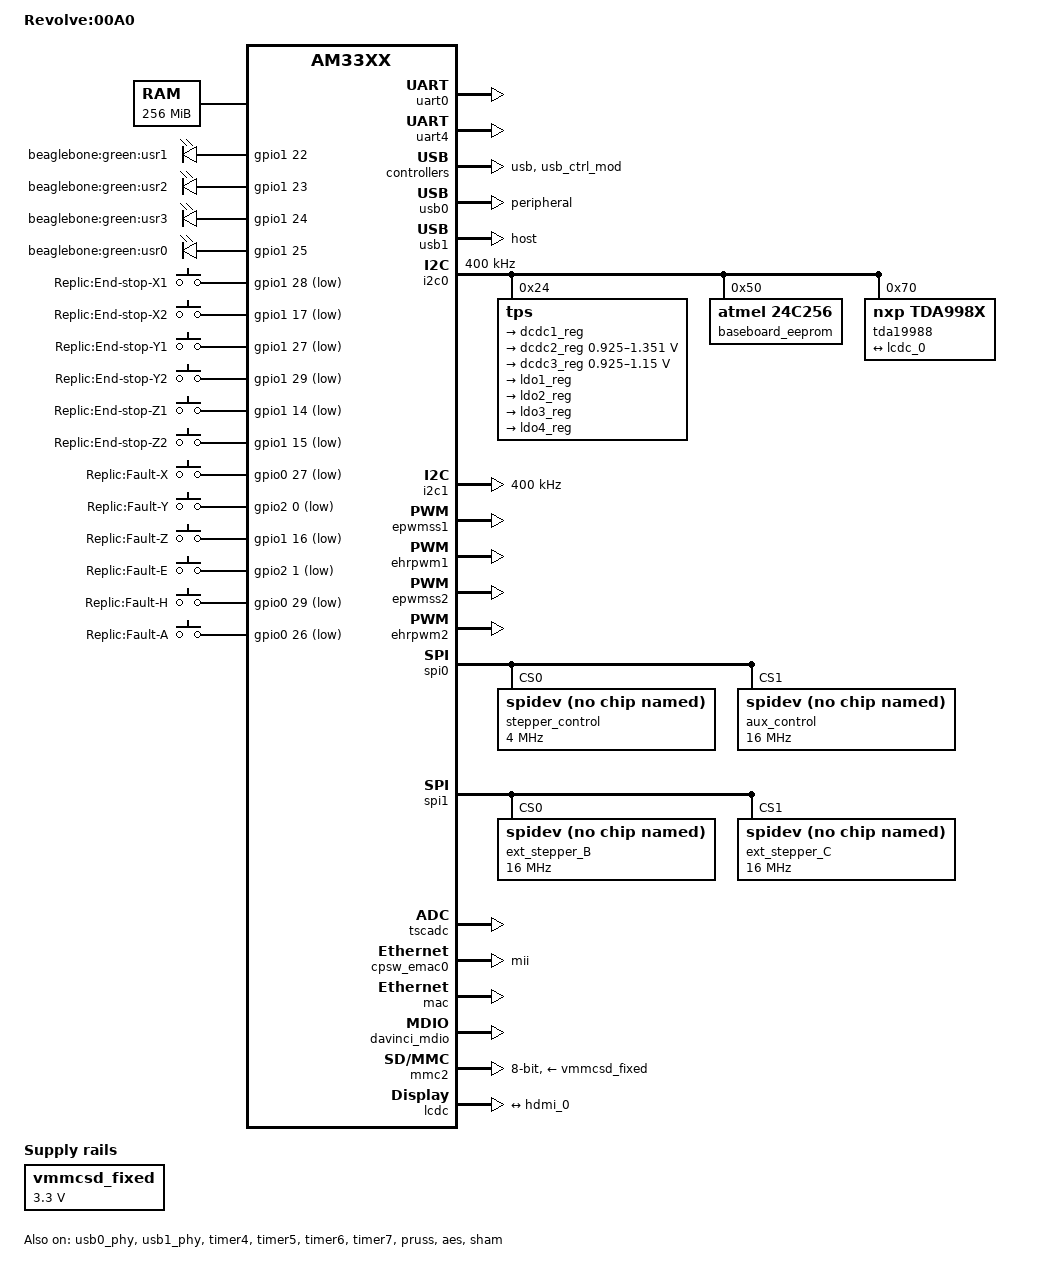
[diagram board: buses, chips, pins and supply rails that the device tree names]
/*
 * Copyright (C) 2012 Texas Instruments Incorporated - http://www.ti.com/
 *
 * This program is free software; you can redistribute it and/or modify
 * it under the terms of the GNU General Public License version 2 as
 * published by the Free Software Foundation.
 */
/dts-v1/;

#include "am33xx.dtsi"
/* #include "am335x-bone-jtag.dtsi" */

/ {

	model = "Revolve:00A0";
	compatible = "ti,am335x-bone-black", "ti,am335x-bone", "ti,am33xx";

	cpus {
		cpu@0 {
			cpu0-supply = <&dcdc2_reg>;
		};
	};

	memory@80000000 {
		device_type = "memory";
		reg = <0x80000000 0x10000000>; /* 512 MB */
	};

	chosen {
		stdout-path = &uart0;
	};

	vmmcsd_fixed: fixedregulator0 {
		compatible = "regulator-fixed";
		regulator-name = "vmmcsd_fixed";
		regulator-min-microvolt = <3300000>;
		regulator-max-microvolt = <3300000>;
	};

    leds {
	    pinctrl-names = "default";
	    pinctrl-0 = <&user_leds_s0>;

	    compatible = "gpio-leds";

	    led1 {
		    label = "beaglebone:green:usr1";
		    gpios = <&gpio1 22 GPIO_ACTIVE_HIGH>;
		    linux,default-trigger = "mmc0";
		    default-state = "off";
	    };

	    led2 {
		    label = "beaglebone:green:usr2";
		    gpios = <&gpio1 23 GPIO_ACTIVE_HIGH>;
		    linux,default-trigger = "cpu0";
		    default-state = "off";
	    };

	    led3 {
		    label = "beaglebone:green:usr3";
		    gpios = <&gpio1 24 GPIO_ACTIVE_HIGH>;
		    linux,default-trigger = "mmc1";
		    default-state = "off";
	    };
	    led4 {
		    label = "beaglebone:green:usr0";
		    gpios = <&gpio1 25 GPIO_ACTIVE_HIGH>;
		    linux,default-trigger = "heartbeat";
		    default-state = "off";
	    };

    };


    gpio_keys {
        compatible = "gpio-keys";
        pinctrl-names = "default";
        pinctrl-0 = <&end_stop_pins>;
        pinctrl-1 = <&stepper_fault_pins>;
        #address-cells = <1>;
        #size-cells = <0>;

        switch_x1 {
            label               = "Replic:End-stop-X1";
            debounce_interval   = <50>;
            linux,code          = <112>;
            gpios               = <&gpio1 28 0x5>;
            gpio-key,wakeup;
        };				
        switch_x2 {
            label               = "Replic:End-stop-X2";
            debounce_interval   = <50>;
            linux,code          = <113>;
            gpios               = <&gpio1 17 0x5>;
            gpio-key,wakeup;
        };
        switch_y1 {
            label               = "Replic:End-stop-Y1";
            debounce_interval   = <50>;
            linux,code          = <114>;
            gpios               = <&gpio1 27 0x5>;
            gpio-key,wakeup;
        };				
        switch_y2 {
            label               = "Replic:End-stop-Y2";
            debounce_interval   = <50>;
            linux,code          = <115>;
            gpios               = <&gpio1 29 0x5>;
            gpio-key,wakeup;
        };				
        switch_z1 {
            label               = "Replic:End-stop-Z1";
            debounce_interval   = <50>;
            linux,code          = <116>;
            gpios               = <&gpio1 14 0x5>;
            gpio-key,wakeup;
        };				
        switch_z2 {
            label               = "Replic:End-stop-Z2";
            debounce_interval   = <50>;
            linux,code          = <117>;
            gpios               = <&gpio1 15 0x5>;
            gpio-key,wakeup;
        };				
        fault_x {
            label               = "Replic:Fault-X";
            debounce_interval   = <50>;
            linux,code          = <90>;
            gpios               = <&gpio0 27 0x5>;
            gpio-key,wakeup;	
        };
        fault_y {
            label               = "Replic:Fault-Y";
            debounce_interval   = <50>;
            linux,code          = <91>;
            gpios               = <&gpio2 0 0x5>;
            gpio-key,wakeup;	
        };
        fault_z {
            label               = "Replic:Fault-Z";
            debounce_interval   = <50>;
            linux,code          = <92>;
            gpios               = <&gpio1 16 0x5>;
            gpio-key,wakeup;	
        };
        fault_e {
            label               = "Replic:Fault-E";
            debounce_interval   = <50>;
            linux,code          = <93>;
            gpios               = <&gpio2 1 0x5>;
            gpio-key,wakeup;	
        };
        fault_h {
            label               = "Replic:Fault-H";
            debounce_interval   = <50>;
            linux,code          = <94>;
            gpios               = <&gpio0 29 0x5>;
            gpio-key,wakeup;	
        };
        fault_a {
            label               = "Replic:Fault-A";
            debounce_interval   = <50>;
            linux,code          = <94>;
            gpios               = <&gpio0 26 0x5>;
            gpio-key,wakeup;	
        };
    };


    pwm4: dmtimer-pwm@4 {
        compatible = "ti,omap-dmtimer-pwm";
        ti,timers = <&timer4>;
        #pwm-cells = <3>;
        pinctrl-names = "default";
	    pinctrl-0 = <&timer4_pins>;	

    };

    pwm5: dmtimer-pwm@5 {
        compatible = "ti,omap-dmtimer-pwm";
        ti,timers = <&timer5>;
        #pwm-cells = <3>;
        pinctrl-names = "default";
	    pinctrl-0 = <&timer5_pins>;	

    };

    pwm6: dmtimer-pwm@6 {
        compatible = "ti,omap-dmtimer-pwm";
        ti,timers = <&timer6>;
        #pwm-cells = <3>;
        pinctrl-names = "default";
	    pinctrl-0 = <&timer6_pins>;	

    };

    pwm7: dmtimer-pwm@7 {
        compatible = "ti,omap-dmtimer-pwm";
        ti,timers = <&timer7>;
        #pwm-cells = <3>;
        pinctrl-names = "default";
	    pinctrl-0 = <&timer7_pins>;	

    };
};


&cpu0_opp_table {
	/*
	 * All PG 2.0 silicon may not support 1GHz but some of the early
	 * BeagleBone Blacks have PG 2.0 silicon which is guaranteed
	 * to support 1GHz OPP so enable it for PG 2.0 on this board.
	 */
	oppnitro-1000000000 {
		opp-supported-hw = <0x06 0x0100>;
	};
};


&am33xx_pinmux {
	nxp_hdmi_bonelt_pins: nxp_hdmi_bonelt_pins {
		pinctrl-single,pins = <
			AM33XX_IOPAD(0x8a0, PIN_OUTPUT | MUX_MODE0)		/* lcd_data0.lcd_data0 */
			AM33XX_IOPAD(0x8a4, PIN_OUTPUT | MUX_MODE0)		/* lcd_data1.lcd_data1 */
			AM33XX_IOPAD(0x8a8, PIN_OUTPUT | MUX_MODE0)		/* lcd_data2.lcd_data2 */
			AM33XX_IOPAD(0x8ac, PIN_OUTPUT | MUX_MODE0)		/* lcd_data3.lcd_data3 */
			AM33XX_IOPAD(0x8b0, PIN_OUTPUT | MUX_MODE0)		/* lcd_data4.lcd_data4 */
			AM33XX_IOPAD(0x8b4, PIN_OUTPUT | MUX_MODE0)		/* lcd_data5.lcd_data5 */
			AM33XX_IOPAD(0x8b8, PIN_OUTPUT | MUX_MODE0)		/* lcd_data6.lcd_data6 */
			AM33XX_IOPAD(0x8bc, PIN_OUTPUT | MUX_MODE0)		/* lcd_data7.lcd_data7 */
			AM33XX_IOPAD(0x8c0, PIN_OUTPUT | MUX_MODE0)		/* lcd_data8.lcd_data8 */
			AM33XX_IOPAD(0x8c4, PIN_OUTPUT | MUX_MODE0)		/* lcd_data9.lcd_data9 */
			AM33XX_IOPAD(0x8c8, PIN_OUTPUT | MUX_MODE0)		/* lcd_data10.lcd_data10 */
			AM33XX_IOPAD(0x8cc, PIN_OUTPUT | MUX_MODE0)		/* lcd_data11.lcd_data11 */
			AM33XX_IOPAD(0x8d0, PIN_OUTPUT | MUX_MODE0)		/* lcd_data12.lcd_data12 */
			AM33XX_IOPAD(0x8d4, PIN_OUTPUT | MUX_MODE0)		/* lcd_data13.lcd_data13 */
			AM33XX_IOPAD(0x8d8, PIN_OUTPUT | MUX_MODE0)		/* lcd_data14.lcd_data14 */
			AM33XX_IOPAD(0x8dc, PIN_OUTPUT | MUX_MODE0)		/* lcd_data15.lcd_data15 */
			AM33XX_IOPAD(0x8e0, PIN_OUTPUT_PULLDOWN | MUX_MODE0)	/* lcd_vsync.lcd_vsync */
			AM33XX_IOPAD(0x8e4, PIN_OUTPUT_PULLDOWN | MUX_MODE0)	/* lcd_hsync.lcd_hsync */
			AM33XX_IOPAD(0x8e8, PIN_OUTPUT_PULLDOWN | MUX_MODE0)	/* lcd_pclk.lcd_pclk */
			AM33XX_IOPAD(0x8ec, PIN_OUTPUT_PULLDOWN | MUX_MODE0)	/* lcd_ac_bias_en.lcd_ac_bias_en */
		>;
	};

    ehrpwm1_pins: ehrpwm1_pins_default {
	    pinctrl-single,pins = <
		    0x20 ( PIN_OUTPUT | MUX_MODE4 ) /* (U10) gpmc_ad8.ehrpwm2A */
		    0x24 ( PIN_OUTPUT | MUX_MODE4 ) /* (T10) gpmc_ad9.ehrpwm2B */
	    >;
    };

    ehrpwm2_pins: ehrpwm2_pins_default {
	    pinctrl-single,pins = <
		    0x48 ( PIN_OUTPUT | MUX_MODE6 ) /* (U14) gpmc_a2.ehrpwm1A */
		    0x4c ( PIN_OUTPUT | MUX_MODE6 ) /* (T14) gpmc_a3.ehrpwm1B */
	    >;
    };

    spi0_pins: spi0_pins {
	    pinctrl-single,pins = <
		    0x150 ( PIN_INPUT | MUX_MODE0 ) /* (A17) spi0_sclk.spi0_sclk */
		    0x154 ( PIN_INPUT | MUX_MODE0 ) /* (B17) spi0_d0.spi0_d0 */
		    0x158 ( PIN_INPUT | MUX_MODE0 ) /* (B16) spi0_d1.spi0_d1 */
		    0x15c ( PIN_OUTPUT | MUX_MODE0 ) /* (A16) spi0_cs0.spi0_cs0 */
		    0x160 ( PIN_OUTPUT | MUX_MODE0 ) /* (C15) spi0_cs1.spi0_cs1 */
	    >;
    };

    spi1_pins: spi1_pins {
	    pinctrl-single,pins = <
		    0x164 ( PIN_INPUT | MUX_MODE4 ) /* (C18) eCAP0_in_PWM0_out.spi1_sclk */
		    0x168 ( PIN_INPUT | MUX_MODE4 ) /* (E18) uart0_ctsn.spi1_d0 */
		    0x16c ( PIN_INPUT | MUX_MODE4 ) /* (E17) uart0_rtsn.spi1_d1 */
		    0x178 ( PIN_INPUT | MUX_MODE4 ) /* (D18) uart1_ctsn.spi1_cs0 */
		    0x17c ( PIN_INPUT | MUX_MODE4 ) /* (D17) uart1_rtsn.spi1_cs1 */
	    >;
    };

    pru_stepper_pins: pru_pruss11_pins {
	    pinctrl-single,pins = <
		    0x190 ( PIN_OUTPUT | MUX_MODE5 ) /* (A13) mcasp0_aclkx.pr1_pru0_pru_r30[0] */
		    0x194 ( PIN_OUTPUT | MUX_MODE5 ) /* (B13) mcasp0_fsx.pr1_pru0_pru_r30[1] */
		    0x198 ( PIN_OUTPUT | MUX_MODE5 ) /* (D12) mcasp0_axr0.pr1_pru0_pru_r30[2] */
		    0x19c ( PIN_OUTPUT | MUX_MODE5 ) /* (C12) mcasp0_ahclkr.pr1_pru0_pru_r30[3] */
		    0x1a0 ( PIN_OUTPUT | MUX_MODE5 ) /* (B12) mcasp0_aclkr.pr1_pru0_pru_r30[4] */
		    0x1a4 ( PIN_OUTPUT | MUX_MODE5 ) /* (C13) mcasp0_fsr.pr1_pru0_pru_r30[5] */
		    0x1a8 ( PIN_OUTPUT | MUX_MODE5 ) /* (D13) mcasp0_axr1.pr1_pru0_pru_r30[6] */
		    0x1ac ( PIN_OUTPUT | MUX_MODE5 ) /* (A14) mcasp0_ahclkx.pr1_pru0_pru_r30[7] */
		    0xf0 ( PIN_OUTPUT | MUX_MODE5 ) /* (F17) mmc0_dat3.pr1_pru0_pru_r30[8] */
		    0xf4 ( PIN_OUTPUT | MUX_MODE5 ) /* (F18) mmc0_dat2.pr1_pru0_pru_r30[9] */
		    0xf8 ( PIN_OUTPUT | MUX_MODE5 ) /* (G15) mmc0_dat1.pr1_pru0_pru_r30[10] */
		    0xfc ( PIN_OUTPUT | MUX_MODE5 ) /* (G16) mmc0_dat0.pr1_pru0_pru_r30[11] */
		    0x100 ( PIN_OUTPUT | MUX_MODE5 ) /* (G17) mmc0_clk.pr1_pru0_pru_r30[12] */
		    0x104 ( PIN_OUTPUT | MUX_MODE5 ) /* (G18) mmc0_cmd.pr1_pru0_pru_r30[13] */
		    0x30 ( PIN_OUTPUT | MUX_MODE6 ) /* (T12) gpmc_ad12.pr1_pru0_pru_r30[14] */
		    0x34 ( PIN_OUTPUT | MUX_MODE6 ) /* (R12) gpmc_ad13.pr1_pru0_pru_r30[15] */
		    /*0x38 ( PIN_INPUT | MUX_MODE6 )*/ /* (V13) gpmc_ad14.pr1_pru0_pru_r31[14] */
		    /*0x3c ( PIN_INPUT | MUX_MODE6 )*/ /* (U13) gpmc_ad15.pr1_pru0_pru_r31[15] */
		    0x1b4 ( PIN_INPUT | MUX_MODE5 ) /* (D14) xdma_event_intr1.pr1_pru0_pru_r31[16] */
	    >;
    };

    pru_stepper_pins_gpio: pru_pruss11_pins {
	    pinctrl-single,pins = <
		    0x190 ( PIN_OUTPUT | MUX_MODE7 ) /* (A13) mcasp0_aclkx.pr1_pru0_pru_r30[0] */
		    0x194 ( PIN_OUTPUT | MUX_MODE7 ) /* (B13) mcasp0_fsx.pr1_pru0_pru_r30[1] */
		    0x198 ( PIN_OUTPUT | MUX_MODE7 ) /* (D12) mcasp0_axr0.pr1_pru0_pru_r30[2] */
		    0x19c ( PIN_OUTPUT | MUX_MODE7 ) /* (C12) mcasp0_ahclkr.pr1_pru0_pru_r30[3] */
		    0x1a0 ( PIN_OUTPUT | MUX_MODE7 ) /* (B12) mcasp0_aclkr.pr1_pru0_pru_r30[4] */
		    0x1a4 ( PIN_OUTPUT | MUX_MODE7 ) /* (C13) mcasp0_fsr.pr1_pru0_pru_r30[5] */
		    0x1a8 ( PIN_OUTPUT | MUX_MODE7 ) /* (D13) mcasp0_axr1.pr1_pru0_pru_r30[6] */
		    0x1ac ( PIN_OUTPUT | MUX_MODE7 ) /* (A14) mcasp0_ahclkx.pr1_pru0_pru_r30[7] */
		    0xf0 ( PIN_OUTPUT | MUX_MODE7 ) /* (F17) mmc0_dat3.pr1_pru0_pru_r30[8] */
		    0xf4 ( PIN_OUTPUT | MUX_MODE7 ) /* (F18) mmc0_dat2.pr1_pru0_pru_r30[9] */
		    0xf8 ( PIN_OUTPUT | MUX_MODE7 ) /* (G15) mmc0_dat1.pr1_pru0_pru_r30[10] */
		    0xfc ( PIN_OUTPUT | MUX_MODE7 ) /* (G16) mmc0_dat0.pr1_pru0_pru_r30[11] */
		    0x100 ( PIN_OUTPUT | MUX_MODE7 ) /* (G17) mmc0_clk.pr1_pru0_pru_r30[12] */
		    0x104 ( PIN_OUTPUT | MUX_MODE7 ) /* (G18) mmc0_cmd.pr1_pru0_pru_r30[13] */
		    0x30 ( PIN_OUTPUT | MUX_MODE7 ) /* (T12) gpmc_ad12.pr1_pru0_pru_r30[14] */
		    0x34 ( PIN_OUTPUT | MUX_MODE7 ) /* (R12) gpmc_ad13.pr1_pru0_pru_r30[15] */
	    >;
    };

    timer4_pins: timer4_pins {
	    pinctrl-single,pins = <
		    0x90 ( PIN_OUTPUT | MUX_MODE2 ) /* (R7) gpmc_advn_ale.timer4 */
	    >;
    };

    timer5_pins: timer5_pins {
	    pinctrl-single,pins = <
		     0x9c ( PIN_OUTPUT | MUX_MODE2 ) /* (T6) gpmc_be0n_cle.timer5 */
	    >;
    };
    timer6_pins: timer6_pins {
	    pinctrl-single,pins = <
		    0x98 ( PIN_OUTPUT | MUX_MODE2 ) /* (U6) gpmc_wen.timer6 */
	    >;
    };
    timer7_pins: timer7_pins {
	    pinctrl-single,pins = <
		     0x94 ( PIN_OUTPUT | MUX_MODE2 ) /* (T7) gpmc_oen_ren.timer7 */
	    >;
    };

    user_leds_s0: user_leds_s0 {
		pinctrl-single,pins = <
			AM33XX_IOPAD(0x854, PIN_OUTPUT_PULLDOWN | MUX_MODE7)	/* gpmc_a5.gpio1_21 */
			AM33XX_IOPAD(0x858, PIN_OUTPUT_PULLUP | MUX_MODE7)	/* gpmc_a6.gpio1_22 */
			AM33XX_IOPAD(0x85c, PIN_OUTPUT_PULLDOWN | MUX_MODE7)	/* gpmc_a7.gpio1_23 */
			AM33XX_IOPAD(0x860, PIN_OUTPUT_PULLUP | MUX_MODE7)	/* gpmc_a8.gpio1_24 */
		>;
	};

    i2c0_pins: pinmux_i2c0_pins {
		pinctrl-single,pins = <
			AM33XX_IOPAD(0x988, PIN_INPUT_PULLUP | MUX_MODE0)	/* i2c0_sda.i2c0_sda */
			AM33XX_IOPAD(0x98c, PIN_INPUT_PULLUP | MUX_MODE0)	/* i2c0_scl.i2c0_scl */
		>;
	};

    i2c1_pins: i2c1_pins {
        pinctrl-single,pins = <
	        0x184 ( PIN_INPUT | MUX_MODE3 ) /* (D15) uart1_txd.I2C1_SCL */
	        0x180 ( PIN_INPUT | MUX_MODE3 ) /* (D16) uart1_rxd.I2C1_SDA */
        >;
    };


    uart0_pins: pinmux_uart0_pins {
		pinctrl-single,pins = <
			AM33XX_IOPAD(0x970, PIN_INPUT_PULLUP | MUX_MODE0)	/* uart0_rxd.uart0_rxd */
			AM33XX_IOPAD(0x974, PIN_OUTPUT_PULLDOWN | MUX_MODE0)	/* uart0_txd.uart0_txd */
		>;
	};

    uart4_pins: pinmux_uart4_pins {
	    pinctrl-single,pins = <
		    0x70 ( PIN_INPUT | MUX_MODE6 ) /* (T17) gpmc_wait0.uart4_rxd */
		    0x74 ( PIN_OUTPUT | MUX_MODE6 ) /* (U17) gpmc_wpn.uart4_txd */
	    >;
    };

    cpsw_default: cpsw_default {
		pinctrl-single,pins = <
			/* Slave 1 */
			0x108 (PIN_INPUT | MUX_MODE0)		/* mii1_col.mii1_col */
			0x10c (PIN_INPUT | MUX_MODE0)		/* mii1_crs.mii1_crs */
			AM33XX_IOPAD(0x910, PIN_INPUT_PULLUP | MUX_MODE0)	/* mii1_rxerr.mii1_rxerr */
			AM33XX_IOPAD(0x914, PIN_OUTPUT_PULLDOWN | MUX_MODE0)	/* mii1_txen.mii1_txen */
			AM33XX_IOPAD(0x918, PIN_INPUT_PULLUP | MUX_MODE0)	/* mii1_rxdv.mii1_rxdv */
			AM33XX_IOPAD(0x91c, PIN_OUTPUT_PULLDOWN | MUX_MODE0)	/* mii1_txd3.mii1_txd3 */
			AM33XX_IOPAD(0x920, PIN_OUTPUT_PULLDOWN | MUX_MODE0)	/* mii1_txd2.mii1_txd2 */
			AM33XX_IOPAD(0x924, PIN_OUTPUT_PULLDOWN | MUX_MODE0)	/* mii1_txd1.mii1_txd1 */
			AM33XX_IOPAD(0x928, PIN_OUTPUT_PULLDOWN | MUX_MODE0)	/* mii1_txd0.mii1_txd0 */
			AM33XX_IOPAD(0x92c, PIN_INPUT_PULLUP | MUX_MODE0)	/* mii1_txclk.mii1_txclk */
			AM33XX_IOPAD(0x930, PIN_INPUT_PULLUP | MUX_MODE0)	/* mii1_rxclk.mii1_rxclk */
			AM33XX_IOPAD(0x934, PIN_INPUT_PULLUP | MUX_MODE0)	/* mii1_rxd3.mii1_rxd3 */
			AM33XX_IOPAD(0x938, PIN_INPUT_PULLUP | MUX_MODE0)	/* mii1_rxd2.mii1_rxd2 */
			AM33XX_IOPAD(0x93c, PIN_INPUT_PULLUP | MUX_MODE0)	/* mii1_rxd1.mii1_rxd1 */
			AM33XX_IOPAD(0x940, PIN_INPUT_PULLUP | MUX_MODE0)	/* mii1_rxd0.mii1_rxd0 */
		>;
	};

	cpsw_sleep: cpsw_sleep {
		pinctrl-single,pins = <
			/* Slave 1 reset value */
			0x108 (PIN_INPUT_PULLDOWN | MUX_MODE7)
			0x10c (PIN_INPUT_PULLDOWN | MUX_MODE7)
			AM33XX_IOPAD(0x910, PIN_INPUT_PULLDOWN | MUX_MODE7)
			AM33XX_IOPAD(0x914, PIN_INPUT_PULLDOWN | MUX_MODE7)
			AM33XX_IOPAD(0x918, PIN_INPUT_PULLDOWN | MUX_MODE7)
			AM33XX_IOPAD(0x91c, PIN_INPUT_PULLDOWN | MUX_MODE7)
			AM33XX_IOPAD(0x920, PIN_INPUT_PULLDOWN | MUX_MODE7)
			AM33XX_IOPAD(0x924, PIN_INPUT_PULLDOWN | MUX_MODE7)
			AM33XX_IOPAD(0x928, PIN_INPUT_PULLDOWN | MUX_MODE7)
			AM33XX_IOPAD(0x92c, PIN_INPUT_PULLDOWN | MUX_MODE7)
			AM33XX_IOPAD(0x930, PIN_INPUT_PULLDOWN | MUX_MODE7)
			AM33XX_IOPAD(0x934, PIN_INPUT_PULLDOWN | MUX_MODE7)
			AM33XX_IOPAD(0x938, PIN_INPUT_PULLDOWN | MUX_MODE7)
			AM33XX_IOPAD(0x93c, PIN_INPUT_PULLDOWN | MUX_MODE7)
			AM33XX_IOPAD(0x940, PIN_INPUT_PULLDOWN | MUX_MODE7)
		>;
	};

	davinci_mdio_default: davinci_mdio_default {
		pinctrl-single,pins = <
			/* MDIO */
			AM33XX_IOPAD(0x948, PIN_INPUT_PULLUP | SLEWCTRL_FAST | MUX_MODE0)	/* mdio_data.mdio_data */
			AM33XX_IOPAD(0x94c, PIN_OUTPUT_PULLUP | MUX_MODE0)			/* mdio_clk.mdio_clk */
		>;
	};

	davinci_mdio_sleep: davinci_mdio_sleep {
		pinctrl-single,pins = <
			/* MDIO reset value */
			AM33XX_IOPAD(0x948, PIN_INPUT_PULLDOWN | MUX_MODE7)
			AM33XX_IOPAD(0x94c, PIN_INPUT_PULLDOWN | MUX_MODE7)
		>;
	};

	emmc_pins: pinmux_emmc_pins {
		pinctrl-single,pins = <
			AM33XX_IOPAD(0x880, PIN_INPUT_PULLUP | MUX_MODE2) /* gpmc_csn1.mmc1_clk */
			AM33XX_IOPAD(0x884, PIN_INPUT_PULLUP | MUX_MODE2) /* gpmc_csn2.mmc1_cmd */
			AM33XX_IOPAD(0x800, PIN_INPUT_PULLUP | MUX_MODE1) /* gpmc_ad0.mmc1_dat0 */
			AM33XX_IOPAD(0x804, PIN_INPUT_PULLUP | MUX_MODE1) /* gpmc_ad1.mmc1_dat1 */
			AM33XX_IOPAD(0x808, PIN_INPUT_PULLUP | MUX_MODE1) /* gpmc_ad2.mmc1_dat2 */
			AM33XX_IOPAD(0x80c, PIN_INPUT_PULLUP | MUX_MODE1) /* gpmc_ad3.mmc1_dat3 */
			AM33XX_IOPAD(0x810, PIN_INPUT_PULLUP | MUX_MODE1) /* gpmc_ad4.mmc1_dat4 */
			AM33XX_IOPAD(0x814, PIN_INPUT_PULLUP | MUX_MODE1) /* gpmc_ad5.mmc1_dat5 */
			AM33XX_IOPAD(0x818, PIN_INPUT_PULLUP | MUX_MODE1) /* gpmc_ad6.mmc1_dat6 */
			AM33XX_IOPAD(0x81c, PIN_INPUT_PULLUP | MUX_MODE1) /* gpmc_ad7.mmc1_dat7 */
		>;
	};

    stepper_fault_pins: pinmux_stepper_fault_pins{
        pinctrl-single,pins = <
            0x2c  ( PIN_INPUT | MUX_MODE7 ) // FAULT X
            0x88  ( PIN_INPUT | MUX_MODE7 ) // FAULT Y
            0x40  ( PIN_INPUT | MUX_MODE7 ) // FAULT Z
            0x8c  ( PIN_INPUT | MUX_MODE7 ) // FAULT E
            0x144 ( PIN_INPUT | MUX_MODE7 ) // FAULT H
            0x28  ( PIN_INPUT | MUX_MODE7 ) // FAULT A
        >;
    };

    end_stop_pins: pinmux_end_stop_pins{
        pinctrl-single,pins = <
            0x78 ( PIN_INPUT | MUX_MODE7 ) // End stop X1  = GPIO3_21
            0x44 ( PIN_INPUT | MUX_MODE7 ) // End stop X2  = GPIO0_30
            0x6c ( PIN_INPUT | MUX_MODE7 ) // End stop Y1  = GPIO1_27
            0x7c ( PIN_INPUT | MUX_MODE7 ) // End stop Z1  = GPIO0_31
            0x38 ( PIN_INPUT | MUX_MODE7 ) // End stop Z2  = GPIO0_4
            0x3c ( PIN_INPUT | MUX_MODE7 ) // End stop Y2  = GPIO3_17
        >;
    };


    gpio0_pins: mygpio0_pins_default {
	    pinctrl-single,pins = <
		    0x21c ( PIN_INPUT | MUX_MODE7 ) /* (F16) USB0_DRVVBUS.gpio0[18] */
		    0x28 ( PIN_INPUT | MUX_MODE7 ) /* (T11) gpmc_ad10.gpio0[26] */
		    0x2c ( PIN_INPUT | MUX_MODE7 ) /* (U12) gpmc_ad11.gpio0[27] */
		    0x144 ( PIN_INPUT | MUX_MODE7 ) /* (H18) rmii1_refclk.gpio0[29] */
	    >;
    };

    enable_stuff_pins: enable_stuff_pins{
        pinctrl-single,pins = <
	            0x21c ( PIN_INPUT | MUX_MODE7 ) /* (F16) USB0_DRVVBUS.gpio0[18] */
        >;
    };

};

&uart0 {
	pinctrl-names = "default";
	pinctrl-0 = <&uart0_pins>;
	status = "okay";
};

&uart4 {
	pinctrl-names = "default";
	pinctrl-0 = <&uart4_pins>;
	status = "okay";
};

&usb {
	status = "okay";
};

&usb_ctrl_mod {
	status = "okay";
};

&usb0_phy {
	status = "okay";
};

&usb1_phy {
	status = "okay";
};

&usb0 {
	status = "okay";
	dr_mode = "peripheral";
	interrupts-extended = <&intc 18 &tps 0>;
	interrupt-names = "mc", "vbus";
};

&usb1 {
	status = "okay";
	dr_mode = "host";
};

&cppi41dma  {
	status = "okay";
};

&gpio0{
	status = "okay";
};

&i2c0 {
	pinctrl-names = "default";
	pinctrl-0 = <&i2c0_pins>;

	status = "okay";
	clock-frequency = <400000>;

	tps: tps@24 {
		reg = <0x24>;
	};

	baseboard_eeprom: baseboard_eeprom@50 {
		compatible = "atmel,24c256";
		reg = <0x50>;

		#address-cells = <1>;
		#size-cells = <1>;
		baseboard_data: baseboard_data@0 {
			reg = <0 0x100>;
		};
	};

    tda19988: tda19988 {
		compatible = "nxp,tda998x";
		reg = <0x70>;

		pinctrl-names = "default";
		pinctrl-0 = <&nxp_hdmi_bonelt_pins>;

		/* Convert 24bit BGR to RGB, e.g. cross red and blue wiring */
		/* video-ports = <0x234501>; */
		ports {
			port@0 {
				hdmi_0: endpoint@0 {
					remote-endpoint = <&lcdc_0>;
				};
			};
		};
	};
};

&i2c1{
    pinctrl-names = "default";
	pinctrl-0 = <&i2c1_pins>;
	status = "okay";
	clock-frequency = <400000>;
};

&epwmss1{
    status = "okay";
};

&ehrpwm1{
    status = "okay";
    pinctrl-names = "default";
	pinctrl-0 = <&ehrpwm1_pins>;	
};

&epwmss2{
    status = "okay";
};

&ehrpwm2{
    status = "okay";
    pinctrl-names = "default";
	pinctrl-0 = <&ehrpwm2_pins>;
};


&timer4{
    status = "okay";
	ti,timer-pwm;
};
&timer5{
    status = "okay";		
	ti,timer-pwm;
};
&timer6{
    status = "okay";		
	ti,timer-pwm;
};
&timer7{
    status = "okay";		
	ti,timer-pwm;
};

&spi0{	
    status = "okay";
    pinctrl-names = "default";
	pinctrl-0 = <&spi0_pins>;

    stepper_control{
        #address-cells 	  = <1>;
        #size-cells 	  = <0>;
        compatible 	  = "spidev";
        reg 		  = <0>;
        spi-max-frequency = <4000000>;
    };
    aux_control{
        #address-cells 	  = <1>;
        #size-cells 	  = <0>;
        compatible 	  = "spidev";
        reg 		  = <1>;
        spi-max-frequency = <16000000>;
    };
};

&spi1{
    status = "okay";
    pinctrl-names = "default";
	pinctrl-0 = <&spi1_pins>;	

    ext_stepper_B{
        #address-cells 	  = <1>;
        #size-cells 	  = <0>;
        compatible 	  = "spidev";
        reg 		  = <0>;
        spi-max-frequency = <16000000>;
    };

    ext_stepper_C{
        #address-cells 	  = <1>;
        #size-cells 	  = <0>;
        compatible 	  = "spidev";
        reg 		  = <1>;
        spi-max-frequency = <16000000>;
    };
};

&pruss{
    status = "okay";
    pinctrl-names = "default";
	pinctrl-0 = <&pru_stepper_pins_gpio>;	

    stepper_x{
        pin-names 	= "Replic:pru-step_x", "Replic:pru-dir_x";		
        gpios 		= <&gpio3 14 0
                 	   &gpio3 15 0>; 
    };			
    stepper_y{
        pin-names 	= "Replic:pru-step_y", "Replic:pru-dir_y";		
        gpios 		=<&gpio3 16 0
                 	  &gpio3 17 0>; 
    };
    stepper_z{
        pin-names 	= "Replic:pru-step_z", "Replic:pru-dir_z";		
        gpios 		= <&gpio3 18 0
                 	   &gpio3 19 0>; 
    };
    stepper_e{
        pin-names 	= "Replic:pru-step_e", "Replic:pru-dir_ext_1";		
        gpios 		= <&gpio3 20 0
                 	   &gpio3 21 0>; 
    };
    stepper_h{
        pin-names 	= "Replic:pru-step_h", "Replic:pru-dir_ext_2";		
        gpios 		= <&gpio2 26 0
                 	   &gpio2 27 0>; 
    };
    stepper_a{
        pin-names 	= "Replic:pru-step_a", "Replic:pru-dir_ext_3";		
        gpios 		= <&gpio2 28 0
                 	   &gpio2 29 0>; 
    };

};

&tscadc{			
    status = "okay";
    adc {
        ti,adc-channels = <0 1 2 3 4 5 6 7>;	
	};
};





/include/ "tps65217.dtsi"

&tps {
	/*
	 * Configure pmic to enter OFF-state instead of SLEEP-state ("RTC-only
	 * mode") at poweroff.  Most BeagleBone versions do not support RTC-only
	 * mode and risk hardware damage if this mode is entered.
	 *
	 * For details, see linux-omap mailing list May 2015 thread
	 *	[PATCH] ARM: dts: am335x-bone* enable pmic-shutdown-controller
	 * In particular, messages:
	 *	http://www.spinics.net/lists/linux-omap/msg118585.html
	 *	http://www.spinics.net/lists/linux-omap/msg118615.html
	 *
	 * You can override this later with
	 *	&tps {  /delete-property/ ti,pmic-shutdown-controller;  }
	 * if you want to use RTC-only mode and made sure you are not affected
	 * by the hardware problems. (Tip: double-check by performing a current
	 * measurement after shutdown: it should be less than 1 mA.)
	 */

	interrupts = <7>; /* NMI */
	interrupt-parent = <&intc>;

	ti,pmic-shutdown-controller;

	charger {
		status = "okay";
	};

	pwrbutton {
		status = "okay";
	};

	regulators {
		dcdc1_reg: regulator@0 {
			regulator-name = "vdds_dpr";
			regulator-always-on;
		};

		dcdc2_reg: regulator@1 {
			/* VDD_MPU voltage limits 0.95V - 1.26V with +/-4% tolerance */
			regulator-name = "vdd_mpu";
			regulator-min-microvolt = <925000>;
			regulator-max-microvolt = <1351500>;
			regulator-boot-on;
			regulator-always-on;
		};

		dcdc3_reg: regulator@2 {
			/* VDD_CORE voltage limits 0.95V - 1.1V with +/-4% tolerance */
			regulator-name = "vdd_core";
			regulator-min-microvolt = <925000>;
			regulator-max-microvolt = <1150000>;
			regulator-boot-on;
			regulator-always-on;
		};

		ldo1_reg: regulator@3 {
			regulator-name = "vio,vrtc,vdds";
			regulator-always-on;
		};

		ldo2_reg: regulator@4 {
			regulator-name = "vdd_3v3aux";
			regulator-always-on;
		};

		ldo3_reg: regulator@5 {
			regulator-name = "vdd_1v8";
			regulator-always-on;
		};

		ldo4_reg: regulator@6 {
			regulator-name = "vdd_3v3a";
			regulator-always-on;
		};
	};
};

&cpsw_emac0 {
	phy_id = <&davinci_mdio>, <0>;
	phy-mode = "mii";
};

&mac {
	slaves = <1>;
	pinctrl-names = "default", "sleep";
	pinctrl-0 = <&cpsw_default>;
	pinctrl-1 = <&cpsw_sleep>;
	status = "okay";
};

&davinci_mdio {
	pinctrl-names = "default", "sleep";
	pinctrl-0 = <&davinci_mdio_default>;
	pinctrl-1 = <&davinci_mdio_sleep>;
	status = "okay";
};

&mmc2 {
	vmmc-supply = <&vmmcsd_fixed>;
	pinctrl-names = "default";
	pinctrl-0 = <&emmc_pins>;
	bus-width = <8>;
	status = "okay";
};


&lcdc {
	status = "okay";

	/* If you want to get 24 bit RGB and 16 BGR mode instead of
	 * current 16 bit RGB and 24 BGR modes, set the propety
	 * below to "crossed" and uncomment the video-ports -property
	 * in tda19988 node.
	 */
	blue-and-red-wiring = "straight";

	port {
		lcdc_0: endpoint@0 {
			remote-endpoint = <&hdmi_0>;
		};
	};
};

&aes {
	status = "okay";
};

&sham {
	status = "okay";
};

&rtc {
	clocks = <&clk_32768_ck>, <&clkdiv32k_ick>;
	clock-names = "ext-clk", "int-clk";
};

&ocp {
	enable_stuff_pinmux {
		compatible = "bone-pinmux-helper";
		status = "okay";
		pinctrl-names = "default";
		pinctrl-0 = <&enable_stuff_pins>;
	};

    sgx@0x56000000 {
            compatible = "ti,sgx";
            ti,hwmods = "gfx";
            reg = <0x56000000 0x1000000>;
            interrupts = <0x25>;
    };
};
